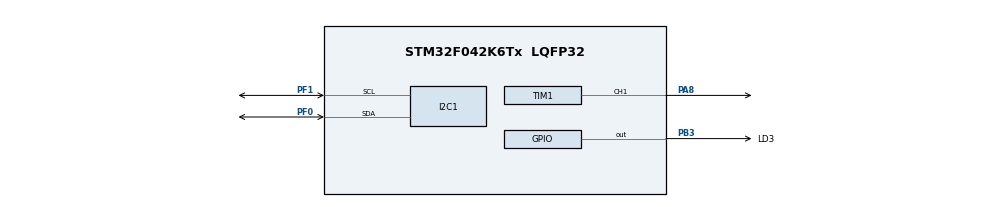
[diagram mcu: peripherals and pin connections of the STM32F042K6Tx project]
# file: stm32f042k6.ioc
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Mcu.Family=STM32F0
Mcu.Name=STM32F042K6Tx
Mcu.Package=LQFP32
PA8.Signal=S_TIM1_CH1
PB3.GPIO_Label=LD3
PB3.Signal=GPIO_Output
PF0-OSC_IN.Mode=I2C
PF0-OSC_IN.Signal=I2C1_SDA
PF1-OSC_OUT.Mode=I2C
PF1-OSC_OUT.Signal=I2C1_SCL
ProjectManager.HeapSize=0x200
ProjectManager.StackSize=0x400
ProjectManager.TargetToolchain=SW4STM32
SH.S_TIM1_CH1.0=TIM1_CH1,PWM Generation1 CH1
TIM1.Channel-PWM\ Generation1\ CH1=TIM_CHANNEL_1
TIM1.Period=999
TIM1.Prescaler=3
board=stm32f042k6

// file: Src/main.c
/**
  ******************************************************************************
  * File Name          : main.c
  * Description        : Main program body
  ******************************************************************************
  ** This notice applies to any and all portions of this file
  * that are not between comment pairs USER CODE BEGIN and
  * USER CODE END. Other portions of this file, whether
  * inserted by the user or by software development tools
  * are owned by their respective copyright owners.
  *
  * COPYRIGHT(c) 2018 STMicroelectronics
  *
  * Redistribution and use in source and binary forms, with or without modification,
  * are permitted provided that the following conditions are met:
  *   1. Redistributions of source code must retain the above copyright notice,
  *      this list of conditions and the following disclaimer.
  *   2. Redistributions in binary form must reproduce the above copyright notice,
  *      this list of conditions and the following disclaimer in the documentation
  *      and/or other materials provided with the distribution.
  *   3. Neither the name of STMicroelectronics nor the names of its contributors
  *      may be used to endorse or promote products derived from this software
  *      without specific prior written permission.
  *
  * THIS SOFTWARE IS PROVIDED BY THE COPYRIGHT HOLDERS AND CONTRIBUTORS "AS IS"
  * AND ANY EXPRESS OR IMPLIED WARRANTIES, INCLUDING, BUT NOT LIMITED TO, THE
  * IMPLIED WARRANTIES OF MERCHANTABILITY AND FITNESS FOR A PARTICULAR PURPOSE ARE
  * DISCLAIMED. IN NO EVENT SHALL THE COPYRIGHT HOLDER OR CONTRIBUTORS BE LIABLE
  * FOR ANY DIRECT, INDIRECT, INCIDENTAL, SPECIAL, EXEMPLARY, OR CONSEQUENTIAL
  * DAMAGES (INCLUDING, BUT NOT LIMITED TO, PROCUREMENT OF SUBSTITUTE GOODS OR
  * SERVICES; LOSS OF USE, DATA, OR PROFITS; OR BUSINESS INTERRUPTION) HOWEVER
  * CAUSED AND ON ANY THEORY OF LIABILITY, WHETHER IN CONTRACT, STRICT LIABILITY,
  * OR TORT (INCLUDING NEGLIGENCE OR OTHERWISE) ARISING IN ANY WAY OUT OF THE USE
  * OF THIS SOFTWARE, EVEN IF ADVISED OF THE POSSIBILITY OF SUCH DAMAGE.
  *
  ******************************************************************************
  */
#include "main.h"
#include "stm32f0xx_hal.h"

/* USER CODE BEGIN Includes */
#include "ssd1306.h"
#include "fonts.h"
/* USER CODE END Includes */

I2C_HandleTypeDef hi2c1;

TIM_HandleTypeDef htim1;

/* USER CODE BEGIN PV */
/* Private variables ---------------------------------------------------------*/
#define mC 261.626
#define mD 293.665
#define mE 329.628
#define mF 349.228
#define mG 391.995
#define mA 440.000
#define mB 493.883

/* USER CODE END PV */

void SystemClock_Config(void);
static void MX_GPIO_Init(void);
static void MX_I2C1_Init(void);
static void MX_TIM1_Init(void);

void HAL_TIM_MspPostInit(TIM_HandleTypeDef *htim);

/* USER CODE BEGIN PFP */
/* Private function prototypes -----------------------------------------------*/

/* USER CODE END PFP */

/* USER CODE BEGIN 0 */
TIM_MasterConfigTypeDef sMasterConfig;
TIM_OC_InitTypeDef sConfigOC;

/* USER CODE END 0 */

int main(void)
{

  /* USER CODE BEGIN 1 */
  float mm[] = {mC, mD, mE, mF, mG, mA, mB, mC*2};
  int i;

  /* USER CODE END 1 */

  /* MCU Configuration----------------------------------------------------------*/

  /* Reset of all peripherals, Initializes the Flash interface and the Systick. */
  HAL_Init();

  /* Configure the system clock */
  SystemClock_Config();

  /* Initialize all configured peripherals */
  MX_GPIO_Init();
  MX_I2C1_Init();
  MX_TIM1_Init();

  /* USER CODE BEGIN 2 */
  ssd1306_Init();
  HAL_Delay(1000);
  ssd1306_Fill(White);
  ssd1306_UpdateScreen();
  HAL_Delay(1000);
  ssd1306_Fill(Black);
  ssd1306_UpdateScreen();

  HAL_Delay(1000);

  ssd1306_SetCursor(23, 23);
  ssd1306_WriteString("Hello STM32!", Font_7x10, White);

  ssd1306_UpdateScreen();

  /* USER CODE END 2 */

  /* Infinite loop */
  while (1)
  {

  /* USER CODE BEGIN 3 */
    for(i=0; i<sizeof(mm)/sizeof(float); i++){
      sConfigOC.Pulse = mm[i];
      if(HAL_TIM_PWM_ConfigChannel(&htim1, &sConfigOC, TIM_CHANNEL_1) != HAL_OK){
        Error_Handler();
      }
      if(HAL_TIM_PWM_Start(&htim1, TIM_CHANNEL_1) != HAL_OK){
        Error_Handler();
      }
      HAL_Delay(1000);
    }
    /*
    sConfigOC.Pulse = 100;
    if(HAL_TIM_PWM_ConfigChannel(&htim1, &sConfigOC, TIM_CHANNEL_1) != HAL_OK){
      Error_Handler();
    }
    if(HAL_TIM_PWM_Start(&htim1, TIM_CHANNEL_1) != HAL_OK){
      Error_Handler();
    }
    HAL_Delay(1000);

    sConfigOC.Pulse = 999;
    if(HAL_TIM_PWM_ConfigChannel(&htim1, &sConfigOC, TIM_CHANNEL_1) != HAL_OK){
      Error_Handler();
    }
    if(HAL_TIM_PWM_Start(&htim1, TIM_CHANNEL_1) != HAL_OK){
      Error_Handler();
    }
    HAL_Delay(1000);
    */

    //HAL_Delay(1000);
	  //HAL_GPIO_TogglePin(LD3_GPIO_Port, LD3_Pin);

  }
  /* USER CODE END 3 */

}

/** System Clock Configuration
*/
void SystemClock_Config(void)
{

  RCC_OscInitTypeDef RCC_OscInitStruct;
  RCC_ClkInitTypeDef RCC_ClkInitStruct;
  RCC_PeriphCLKInitTypeDef PeriphClkInit;

    /**Initializes the CPU, AHB and APB busses clocks
    */
  RCC_OscInitStruct.OscillatorType = RCC_OSCILLATORTYPE_HSI;
  RCC_OscInitStruct.HSIState = RCC_HSI_ON;
  RCC_OscInitStruct.HSICalibrationValue = 16;
  RCC_OscInitStruct.PLL.PLLState = RCC_PLL_NONE;
  if (HAL_RCC_OscConfig(&RCC_OscInitStruct) != HAL_OK)
  {
    _Error_Handler(__FILE__, __LINE__);
  }

    /**Initializes the CPU, AHB and APB busses clocks
    */
  RCC_ClkInitStruct.ClockType = RCC_CLOCKTYPE_HCLK|RCC_CLOCKTYPE_SYSCLK
                              |RCC_CLOCKTYPE_PCLK1;
  RCC_ClkInitStruct.SYSCLKSource = RCC_SYSCLKSOURCE_HSI;
  RCC_ClkInitStruct.AHBCLKDivider = RCC_SYSCLK_DIV1;
  RCC_ClkInitStruct.APB1CLKDivider = RCC_HCLK_DIV1;

  if (HAL_RCC_ClockConfig(&RCC_ClkInitStruct, FLASH_LATENCY_0) != HAL_OK)
  {
    _Error_Handler(__FILE__, __LINE__);
  }

  PeriphClkInit.PeriphClockSelection = RCC_PERIPHCLK_I2C1;
  PeriphClkInit.I2c1ClockSelection = RCC_I2C1CLKSOURCE_HSI;
  if (HAL_RCCEx_PeriphCLKConfig(&PeriphClkInit) != HAL_OK)
  {
    _Error_Handler(__FILE__, __LINE__);
  }

    /**Configure the Systick interrupt time
    */
  HAL_SYSTICK_Config(HAL_RCC_GetHCLKFreq()/1000);

    /**Configure the Systick
    */
  HAL_SYSTICK_CLKSourceConfig(SYSTICK_CLKSOURCE_HCLK);

  /* SysTick_IRQn interrupt configuration */
  HAL_NVIC_SetPriority(SysTick_IRQn, 0, 0);
}

/* I2C1 init function */
static void MX_I2C1_Init(void)
{

  hi2c1.Instance = I2C1;
  hi2c1.Init.Timing = 0x2000090E;
  hi2c1.Init.OwnAddress1 = 0;
  hi2c1.Init.AddressingMode = I2C_ADDRESSINGMODE_7BIT;
  hi2c1.Init.DualAddressMode = I2C_DUALADDRESS_DISABLE;
  hi2c1.Init.OwnAddress2 = 0;
  hi2c1.Init.OwnAddress2Masks = I2C_OA2_NOMASK;
  hi2c1.Init.GeneralCallMode = I2C_GENERALCALL_DISABLE;
  hi2c1.Init.NoStretchMode = I2C_NOSTRETCH_DISABLE;
  if (HAL_I2C_Init(&hi2c1) != HAL_OK)
  {
    _Error_Handler(__FILE__, __LINE__);
  }

    /**Configure Analogue filter
    */
  if (HAL_I2CEx_ConfigAnalogFilter(&hi2c1, I2C_ANALOGFILTER_ENABLE) != HAL_OK)
  {
    _Error_Handler(__FILE__, __LINE__);
  }

    /**Configure Digital filter
    */
  if (HAL_I2CEx_ConfigDigitalFilter(&hi2c1, 0) != HAL_OK)
  {
    _Error_Handler(__FILE__, __LINE__);
  }

}

/* TIM1 init function */
static void MX_TIM1_Init(void)
{

  //TIM_MasterConfigTypeDef sMasterConfig;
  //TIM_OC_InitTypeDef sConfigOC;
  TIM_BreakDeadTimeConfigTypeDef sBreakDeadTimeConfig;

  htim1.Instance = TIM1;
  htim1.Init.Prescaler = 3;
  htim1.Init.CounterMode = TIM_COUNTERMODE_UP;
  htim1.Init.Period = 999;
  htim1.Init.ClockDivision = TIM_CLOCKDIVISION_DIV1;
  htim1.Init.RepetitionCounter = 0;
  htim1.Init.AutoReloadPreload = TIM_AUTORELOAD_PRELOAD_DISABLE;
  if (HAL_TIM_PWM_Init(&htim1) != HAL_OK)
  {
    _Error_Handler(__FILE__, __LINE__);
  }

  sMasterConfig.MasterOutputTrigger = TIM_TRGO_RESET;
  sMasterConfig.MasterSlaveMode = TIM_MASTERSLAVEMODE_DISABLE;
  if (HAL_TIMEx_MasterConfigSynchronization(&htim1, &sMasterConfig) != HAL_OK)
  {
    _Error_Handler(__FILE__, __LINE__);
  }

  sConfigOC.OCMode = TIM_OCMODE_PWM1;
  sConfigOC.Pulse = 0;
  sConfigOC.OCPolarity = TIM_OCPOLARITY_HIGH;
  sConfigOC.OCNPolarity = TIM_OCNPOLARITY_HIGH;
  sConfigOC.OCFastMode = TIM_OCFAST_DISABLE;
  sConfigOC.OCIdleState = TIM_OCIDLESTATE_RESET;
  sConfigOC.OCNIdleState = TIM_OCNIDLESTATE_RESET;
  if (HAL_TIM_PWM_ConfigChannel(&htim1, &sConfigOC, TIM_CHANNEL_1) != HAL_OK)
  {
    _Error_Handler(__FILE__, __LINE__);
  }

  sBreakDeadTimeConfig.OffStateRunMode = TIM_OSSR_DISABLE;
  sBreakDeadTimeConfig.OffStateIDLEMode = TIM_OSSI_DISABLE;
  sBreakDeadTimeConfig.LockLevel = TIM_LOCKLEVEL_OFF;
  sBreakDeadTimeConfig.DeadTime = 0;
  sBreakDeadTimeConfig.BreakState = TIM_BREAK_DISABLE;
  sBreakDeadTimeConfig.BreakPolarity = TIM_BREAKPOLARITY_HIGH;
  sBreakDeadTimeConfig.AutomaticOutput = TIM_AUTOMATICOUTPUT_DISABLE;
  if (HAL_TIMEx_ConfigBreakDeadTime(&htim1, &sBreakDeadTimeConfig) != HAL_OK)
  {
    _Error_Handler(__FILE__, __LINE__);
  }

  HAL_TIM_MspPostInit(&htim1);

}

/** Configure pins as
        * Analog
        * Input
        * Output
        * EVENT_OUT
        * EXTI
*/
static void MX_GPIO_Init(void)
{

  GPIO_InitTypeDef GPIO_InitStruct;

  /* GPIO Ports Clock Enable */
  __HAL_RCC_GPIOF_CLK_ENABLE();
  __HAL_RCC_GPIOA_CLK_ENABLE();
  __HAL_RCC_GPIOB_CLK_ENABLE();

  /*Configure GPIO pin Output Level */
  HAL_GPIO_WritePin(LD3_GPIO_Port, LD3_Pin, GPIO_PIN_RESET);

  /*Configure GPIO pin : LD3_Pin */
  GPIO_InitStruct.Pin = LD3_Pin;
  GPIO_InitStruct.Mode = GPIO_MODE_OUTPUT_PP;
  GPIO_InitStruct.Pull = GPIO_NOPULL;
  GPIO_InitStruct.Speed = GPIO_SPEED_FREQ_LOW;
  HAL_GPIO_Init(LD3_GPIO_Port, &GPIO_InitStruct);

}

void _Error_Handler(char * file, int line)
{
  while(1)
  {
  }
}

/************************ (C) COPYRIGHT STMicroelectronics *****END OF FILE****/
